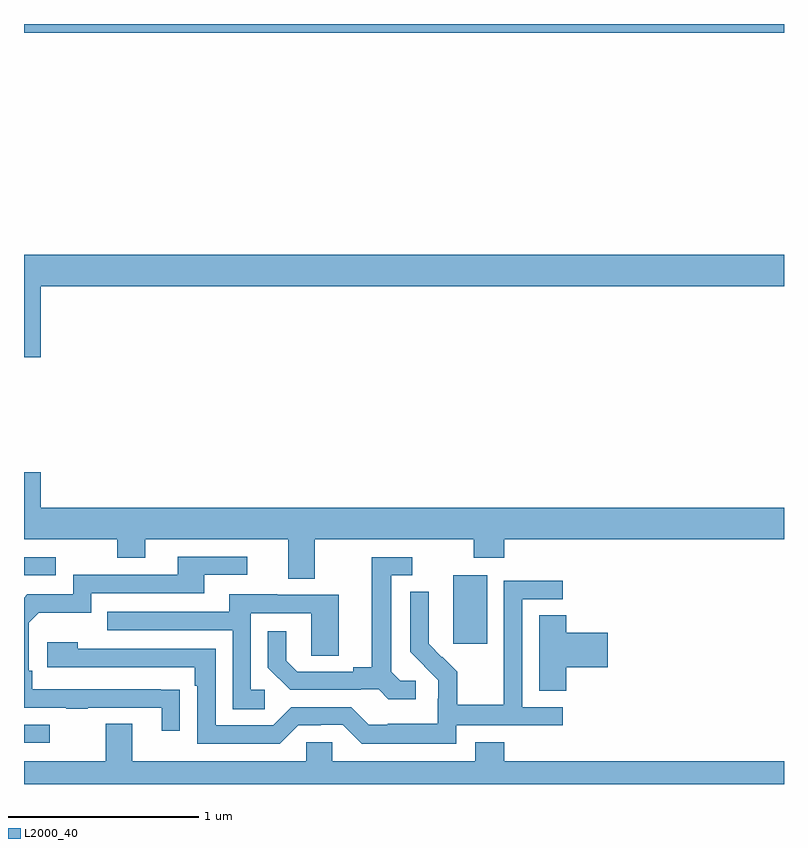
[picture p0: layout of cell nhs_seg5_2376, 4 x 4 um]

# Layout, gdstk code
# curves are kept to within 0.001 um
import gdstk
lib = gdstk.Library(unit=1e-6, precision=1e-09)
def R(c, l, rs):  # rectangles x0, y0, x1, y1
    for r in rs: c.add(gdstk.rectangle(r[:2], r[2:], *l))
def P(c, l, *ps):  # polygons
    for p in ps: c.add(gdstk.Polygon(p, *l))
L2000_40 = (2000, 40)

nhs_seg5_2376 = lib.new_cell('nhs_seg5_2376')
R(nhs_seg5_2376, L2000_40, [(249,861.015,249.136,861.111), (251.258,861.537,251.437,861.898), (249,861.897,249.166,861.993), (249,864.752,253,864.799)])
P(nhs_seg5_2376, L2000_40, [(249.088,863.42),(253,863.42),(253,863.584),(249,863.584),(249,863.046),(249.088,863.046)],
  [(250.531,862.088),(251.368,862.088),(251.368,861.989),(251.528,861.989),(251.528,862.088),(253,862.088),(253,862.252),(249.088,862.252),(249.088,862.441),(249,862.441),(249,862.088),(249.49,862.088),(249.49,861.989),(249.637,861.989),(249.637,862.088),(250.391,862.088),(250.391,861.88),(250.531,861.88)],
  [(249.821,861.296),(249.044,861.297),(249.044,861.394),(249.024,861.394),(249.024,861.648),(249.077,861.701),(249.354,861.701),(249.354,861.804),(249.949,861.804),(249.949,861.9),(250.174,861.9),(250.174,861.996),(249.809,861.996),(249.809,861.9),(249.258,861.9),(249.258,861.798),(249.018,861.798),(249,861.78),(249,861.201),(249.223,861.201),(249.223,861.196),(249.335,861.196),(249.335,861.201),(249.725,861.201),(249.725,861.078),(249.821,861.078)],
  [(251.062,861.342),(250.98,861.342),(250.933,861.389),(250.933,861.897),(251.044,861.897),(251.044,861.993),(250.829,861.993),(250.829,861.413),(250.733,861.413),(250.733,861.39),(250.438,861.39),(250.381,861.447),(250.381,861.604),(250.284,861.604),(250.284,861.41),(250.4,861.294),(250.772,861.294),(250.772,861.297),(250.866,861.297),(250.918,861.245),(251.062,861.245)],
  [(251.274,861.108),(251.836,861.108),(251.836,861.204),(251.622,861.204),(251.622,861.771),(251.836,861.771),(251.836,861.87),(251.526,861.87),(251.526,861.44),(251.524,861.44),(251.524,861.217),(251.279,861.217),(251.279,861.391),(251.202,861.468),(251.199,861.465),(251.129,861.536),(251.13,861.812),(251.034,861.812),(251.034,861.494),(251.18,861.346),(251.18,861.249),(251.178,861.249),(251.178,861.115),(250.915,861.115),(250.915,861.111),(250.815,861.111),(250.722,861.204),(250.407,861.204),(250.311,861.108),(250.008,861.108),(250.008,861.51),(249.284,861.51),(249.284,861.544),(249.123,861.544),(249.123,861.414),(249.899,861.414),(249.899,861.317),(249.912,861.317),(249.912,861.012),(250.347,861.012),(250.443,861.108),(250.562,861.108),(250.562,861.111),(250.677,861.111),(250.777,861.011),(251.274,861.011)],
  [(250.267,861.294),(250.194,861.294),(250.194,861.699),(250.512,861.699),(250.512,861.475),(250.657,861.475),(250.657,861.795),(250.333,861.795),(250.333,861.799),(250.079,861.799),(250.079,861.705),(249.439,861.705),(249.439,861.609),(250.098,861.609),(250.098,861.193),(250.267,861.193)],
  [(251.855,861.413),(252.073,861.413),(252.073,861.596),(251.855,861.596),(251.855,861.686),(251.711,861.686),(251.711,861.289),(251.855,861.289)],
  [(253,860.92),(251.528,860.92),(251.528,861.019),(251.375,861.019),(251.375,860.92),(250.623,860.92),(250.623,861.018),(250.485,861.018),(250.485,860.92),(249.571,860.92),(249.571,861.115),(249.431,861.115),(249.431,860.92),(249,860.92),(249,860.799),(253,860.799)])

lib.write_gds('nhs_seg5_2376.gds')
